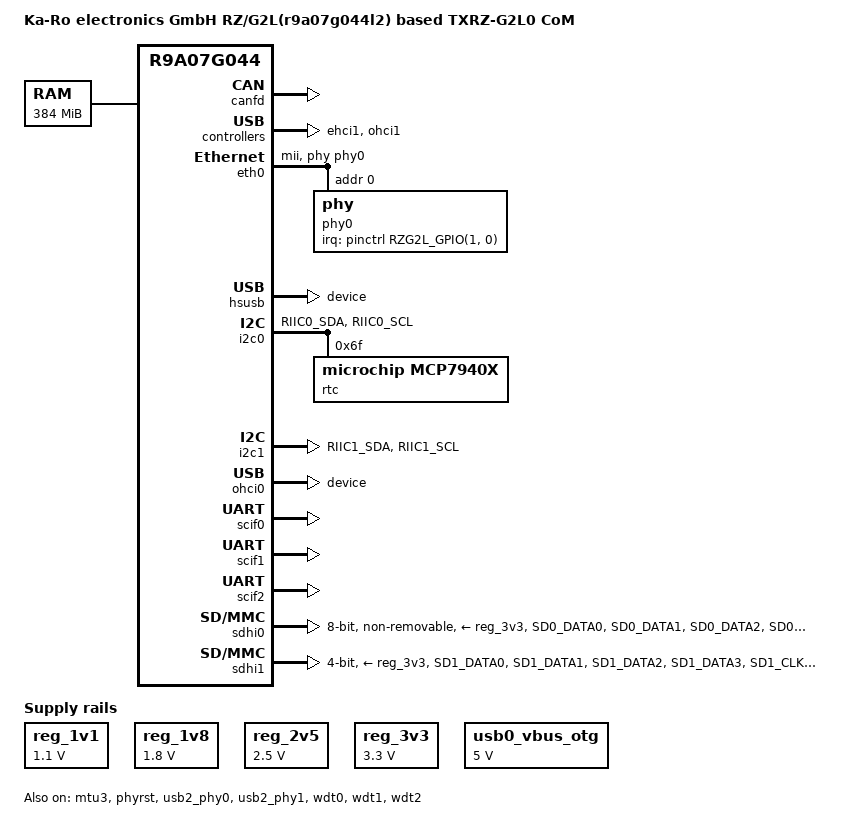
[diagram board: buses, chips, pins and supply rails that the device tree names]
// SPDX-License-Identifier: GPL-2.0
/*
 * Device Tree Source for the RZG2L based Ka-Ro TXRZ-G2L0 CoM
 *
 * Copyright (C) 2022 Markus Bauer <MB@karo-electronics.com>
 */

/dts-v1/;
#include "r9a07g044l2.dtsi"
#include <dt-bindings/pinctrl/rzg2l-pinctrl.h>
#include <dt-bindings/gpio/gpio.h>

/ {
	model = "Ka-Ro electronics GmbH RZ/G2L(r9a07g044l2) based TXRZ-G2L0 CoM";
	compatible = "renesas,r9a07g044l2", "renesas,r9a07g044";

	aliases {
		i2c0 = &i2c0;
		i2c1 = &i2c1;
		emmc = &sdhi0;
		sdcard = &sdhi1;
		ethernet = &eth0;
		serial0 = &scif0;
		serial1 = &scif1;
		serial2 = &scif2;
		usb-otg = &usb2_phy0;
		usb-host = &usb2_phy1;
	};

	chosen {
		stdout-path = "serial0:115200n8";
	};

	memory@48000000 {
		device_type = "memory";
		/* first 128MB is reserved for secure area. */
		reg = <0 0x48000000 0 0x18000000>;
	};

	mmngr {
		compatible = "renesas,mmngr";
		memory-region = <&mmp_reserved>;
	};

	mmngrbuf {
		compatible = "renesas,mmngrbuf";
	};

	reg_1v1: regulator-vdd-core {
		compatible = "regulator-fixed";
		regulator-name = "fixed-1.1V";
		regulator-min-microvolt = <1100000>;
		regulator-max-microvolt = <1100000>;
		regulator-boot-on;
		regulator-always-on;
	};

	reg_1v8: regulator-1v8 {
		compatible = "regulator-fixed";
		regulator-name = "fixed-1.8V";
		regulator-min-microvolt = <1800000>;
		regulator-max-microvolt = <1800000>;
		regulator-boot-on;
		regulator-always-on;
	};

	reg_2v5: regulator-2v5 {
		compatible = "regulator-fixed";
		regulator-name = "fixed-2.5V";
		regulator-min-microvolt = <2500000>;
		regulator-max-microvolt = <2500000>;
		regulator-boot-on;
		regulator-always-on;
	};

	reg_3v3: regulator-3v3 {
		compatible = "regulator-fixed";
		regulator-name = "fixed-3.3V";
		regulator-min-microvolt = <3300000>;
		regulator-max-microvolt = <3300000>;
		regulator-boot-on;
		regulator-always-on;
	};

	reserved-memory {
		#address-cells = <2>;
		#size-cells = <2>;
		ranges;

		reserved: linux,cma@5c000000 {
			compatible = "shared-dma-pool";
			linux,cma-default;
			reusable;
			reg = <0x0 0x50000000 0x0 0x8000000>;
		};

		mmp_reserved: linux,multimedia {
			compatible = "shared-dma-pool";
			reusable;
			reg = <0x00000000 0x58000000 0x0 0x8000000>;
		};
	};

	usb0_vbus_otg: regulator-usb0-vbus-otg {
		compatible = "regulator-fixed";

		regulator-name = "USB0_VBUS_OTG";
		regulator-min-microvolt = <5000000>;
		regulator-max-microvolt = <5000000>;
	};

	vspm_if {
		compatible = "renesas,vspm_if";
	};
};

&canfd {
	pinctrl-names = "default";
	pinctrl-0 = <&can1_pins>;
	status = "okay";

	// channel 0 conflicts with LCD pins
	channel1 {
		status = "okay";
	};
};

&du {
	pinctrl-names = "default";
	pinctrl-0 = <&du_pins>;
};

&ehci1 {
	status = "okay";
};

&eth0 {
	pinctrl-names = "default";
	pinctrl-0 = <&eth0_pins>;
	phy-handle = <&phy0>;
	phy-mode = "mii";
	status = "okay";

	phy0: phy@0 {
		reg = <0>;
		interrupt-parent = <&pinctrl>;
		interrupts = <RZG2L_GPIO(1, 0) IRQ_TYPE_EDGE_FALLING>;
	};
};

&extal_clk {
	clock-frequency = <24000000>;
};

&gpu {
	mali-supply = <&reg_1v1>;
};

&hsusb {
	dr_mode = "device";
	status = "okay";
};

&i2c0 {
	pinctrl-names = "default";
	pinctrl-0 = <&i2c0_pins>;
	status = "okay";

	rtc: rtc@6f {
		compatible = "microchip,mcp7940x";
		reg = <0x6f>;
	};
};

&i2c1 {
	pinctrl-names = "default";
	pinctrl-0 = <&i2c1_pins>;
	status = "okay";
};

&mtu3 {
	status = "okay";
};

&ohci0 {
	dr_mode = "device";
	status = "okay";
};

&ohci1 {
	status = "okay";
};

&phyrst {
	status = "okay";
};

&scif0 {
	pinctrl-names = "default";
	pinctrl-0 = <&scif0_pins>;
	uart-has-rtscts;
	status = "okay";
};

&scif1 {
	pinctrl-names = "default";
	pinctrl-0 = <&scif1_pins>;
	uart-has-rtscts;
	status = "okay";
};

&scif2 {
	pinctrl-names = "default";
	pinctrl-0 = <&scif2_pins>;
	uart-has-rtscts;
	status = "okay";
};

&sdhi0 {
	pinctrl-names = "default", "state_uhs";
	pinctrl-0 = <&sdhi0_emmc_pins>;
	pinctrl-1 = <&sdhi0_emmc_pins>;

	vmmc-supply = <&reg_3v3>;
	vqmmc-supply = <&reg_1v8>;
	bus-width = <8>;
	mmc-hs200-1_8v;
	non-removable;
	fixed-emmc-driver-type = <1>;
	status = "okay";
};

&sdhi1 {
	pinctrl-names = "default", "state_uhs";
	pinctrl-0 = <&sdhi1_pins>;
	pinctrl-1 = <&sdhi1_pins>;

	vmmc-supply = <&reg_3v3>;
	vqmmc-supply = <&reg_3v3>;
	cd-gpios = <&pinctrl RZG2L_GPIO(19, 0) GPIO_ACTIVE_LOW>;
	bus-width = <4>;
	status = "okay";
};

&ssi0 {
	pinctrl-names = "default";
	pinctrl-0 = <&ssi0_pins>;
};

// otg
&usb2_phy0 {
	pinctrl-names = "default";
	pinctrl-0 = <&usb0_pins>;
	vbus-supply = <&usb0_vbus_otg>;
	status = "okay";
};

// host
&usb2_phy1 {
	pinctrl-names = "default";
	pinctrl-0 = <&usb1_pins>;
	status = "okay";
};

&wdt0 {
	status = "okay";
	timeout-sec = <60>;
};

&wdt1 {
	status = "okay";
	timeout-sec = <60>;
};

&wdt2 {
	status = "okay";
	timeout-sec = <60>;
};

&pinctrl {
	can1_pins: can1grp {
		pinmux = <
		          RZG2L_PORT_PINMUX(46, 0, 3)	/* TX */
			  RZG2L_PORT_PINMUX(46, 1, 3)	/* RX */
		>;
	};

	du_pins: dugrp {
		pinmux = <
		          RZG2L_PORT_PINMUX(7, 2, 1)	/* DISP_DATA0 */
			  RZG2L_PORT_PINMUX(8, 0, 1)	/* DISP_DATA1 */
			  RZG2L_PORT_PINMUX(8, 1, 1)	/* DISP_DATA2 */
			  RZG2L_PORT_PINMUX(8, 2, 1)	/* DISP_DATA3 */
			  RZG2L_PORT_PINMUX(9, 0, 1)	/* DISP_DATA4 */
			  RZG2L_PORT_PINMUX(9, 1, 1)	/* DISP_DATA5 */
			  RZG2L_PORT_PINMUX(10, 0, 1)	/* DISP_DATA6 */
			  RZG2L_PORT_PINMUX(10, 1, 1)	/* DISP_DATA7 */
			  RZG2L_PORT_PINMUX(11, 0, 1)	/* DISP_DATA8 */
			  RZG2L_PORT_PINMUX(11, 1, 1)	/* DISP_DATA9 */
			  RZG2L_PORT_PINMUX(12, 0, 1)	/* DISP_DATA10 */
			  RZG2L_PORT_PINMUX(12, 1, 1)	/* DISP_DATA11 */
			  RZG2L_PORT_PINMUX(13, 0, 1)	/* DISP_DATA12 */
			  RZG2L_PORT_PINMUX(13, 1, 1)	/* DISP_DATA13 */
			  RZG2L_PORT_PINMUX(13, 2, 1)	/* DISP_DATA14 */
			  RZG2L_PORT_PINMUX(14, 0, 1)	/* DISP_DATA15 */
			  RZG2L_PORT_PINMUX(14, 1, 1)	/* DISP_DATA16 */
			  RZG2L_PORT_PINMUX(15, 0, 1)	/* DISP_DATA17 */
			  RZG2L_PORT_PINMUX(15, 1, 1)	/* DISP_DATA18 */
			  RZG2L_PORT_PINMUX(16, 0, 1)	/* DISP_DATA19 */
			  RZG2L_PORT_PINMUX(16, 1, 1)	/* DISP_DATA20 */
			  RZG2L_PORT_PINMUX(17, 0, 1)	/* DISP_DATA21 */
			  RZG2L_PORT_PINMUX(17, 1, 1)	/* DISP_DATA22 */
			  RZG2L_PORT_PINMUX(17, 2, 1)	/* DISP_DATA23 */
			  RZG2L_PORT_PINMUX(6, 1, 1)	/* DISP_HSYNC */
			  RZG2L_PORT_PINMUX(7, 0, 1)	/* DISP_VSYNC */
			  RZG2L_PORT_PINMUX(7, 1, 1)	/* DISP_DE */
			  RZG2L_PORT_PINMUX(6, 0, 1)	/* DISP_CLK */
		>;
	};

	eth0_pins: eth0grp {
		pinmux = <
		          RZG2L_PORT_PINMUX(28, 1, 1)	/* ET0_LINKSTA */
			  RZG2L_PORT_PINMUX(27, 1, 1)	/* ET0_MDC */
			  RZG2L_PORT_PINMUX(28, 0, 1)	/* ET0_MDIO */
			  RZG2L_PORT_PINMUX(20, 0, 1)	/* ET0_TXC */
			  RZG2L_PORT_PINMUX(20, 1, 1)	/* ET0_TX_CTL */
			  RZG2L_PORT_PINMUX(20, 2, 1)	/* ET0_TXD0 */
			  RZG2L_PORT_PINMUX(21, 0, 1)	/* ET0_TXD1 */
			  RZG2L_PORT_PINMUX(21, 1, 1)	/* ET0_TXD2 */
			  RZG2L_PORT_PINMUX(22, 0, 1)	/* ET0_TXD3 */
			  RZG2L_PORT_PINMUX(24, 0, 1)	/* ET0_RXC */
			  RZG2L_PORT_PINMUX(24, 1, 1)	/* ET0_RX_CTL */
			  RZG2L_PORT_PINMUX(25, 0, 1)	/* ET0_RXD0 */
			  RZG2L_PORT_PINMUX(25, 1, 1)	/* ET0_RXD1 */
			  RZG2L_PORT_PINMUX(26, 0, 1)	/* ET0_RXD2 */
			  RZG2L_PORT_PINMUX(26, 1, 1)	/* ET0_RXD3 */
		>;
	};

	i2c0_pins: i2c0grp {
		pins = "RIIC0_SDA", "RIIC0_SCL";
		input-enable;
	};

	i2c1_pins: i2c1grp {
		pins = "RIIC1_SDA", "RIIC1_SCL";
		input-enable;
	};

	scif0_pins: scif0grp {
		pinmux = <
		       	  RZG2L_PORT_PINMUX(38, 0, 1)	/* TxD */
			  RZG2L_PORT_PINMUX(38, 1, 1)	/* RxD */
			  RZG2L_PORT_PINMUX(39, 1, 1)	/* CTS# */
			  RZG2L_PORT_PINMUX(39, 2, 1)	/* RTS# */
 		>;
	};

	scif1_pins: scif1grp {
		pinmux = <
		       	  RZG2L_PORT_PINMUX(40, 0, 1)	/* TxD */
			  RZG2L_PORT_PINMUX(40, 1, 1)	/* RxD */
			  RZG2L_PORT_PINMUX(41, 0, 1)	/* CTS# */
			  RZG2L_PORT_PINMUX(41, 1, 1)	/* RTS# */
		>;
	};

	scif2_pins: scif2grp {
		pinmux = <
		          RZG2L_PORT_PINMUX(48, 0, 1)	/* TxD */
			  RZG2L_PORT_PINMUX(48, 1, 1)	/* RxD */
			  RZG2L_PORT_PINMUX(48, 3, 1)	/* CTS# */
			  RZG2L_PORT_PINMUX(48, 4, 1)	/* RTS# */
		>;
	};

	sdhi0_emmc_pins: sd0-emmcgrp {
		sd0-emmc-data {
			pins = "SD0_DATA0", "SD0_DATA1", "SD0_DATA2", "SD0_DATA3",
			       "SD0_DATA4", "SD0_DATA5", "SD0_DATA6", "SD0_DATA7";
			power-source = <1800>;
		};

		sd0-emmc-ctrl {
			pins = "SD0_CLK", "SD0_CMD";
			power-source = <1800>;
		};

		sd0-emmc-rst {
			pins = "SD0_RST#";
			power-source = <1800>;
		};
	};

	sdhi1_pins: sd1grp {
		sd1-data {
			pins = "SD1_DATA0", "SD1_DATA1", "SD1_DATA2", "SD1_DATA3";
			power-source = <3300>;
		};

		sd1-ctrl {
			pins = "SD1_CLK", "SD1_CMD";
			power-source = <3300>;
		};
	};

	ssi0_pins: ssi0grp {
		pinmux = <
		       	  RZG2L_PORT_PINMUX(45, 0, 1)	/* BCK */
			  RZG2L_PORT_PINMUX(45, 1, 1)	/* RCK */
			  RZG2L_PORT_PINMUX(45, 2, 1)	/* TXD */
			  RZG2L_PORT_PINMUX(45, 3, 1)	/* RXD */
		>;
	};

	usb0_pins: usb0grp {
		pinmux = <
		       	  RZG2L_PORT_PINMUX(4, 0, 1)	/* VBUS */
			  RZG2L_PORT_PINMUX(5, 0, 1)	/* OVC */
			  //RZG2L_PORT_PINMUX(5, 1, 1)	/* OTG_ID */
		>;
	};

	usb1_pins: usb1grp {
		pinmux = <
		          RZG2L_PORT_PINMUX(42, 0, 1)	/* VBUS */
			  RZG2L_PORT_PINMUX(42, 1, 1)	/* OVC */
		>;
	};
};
